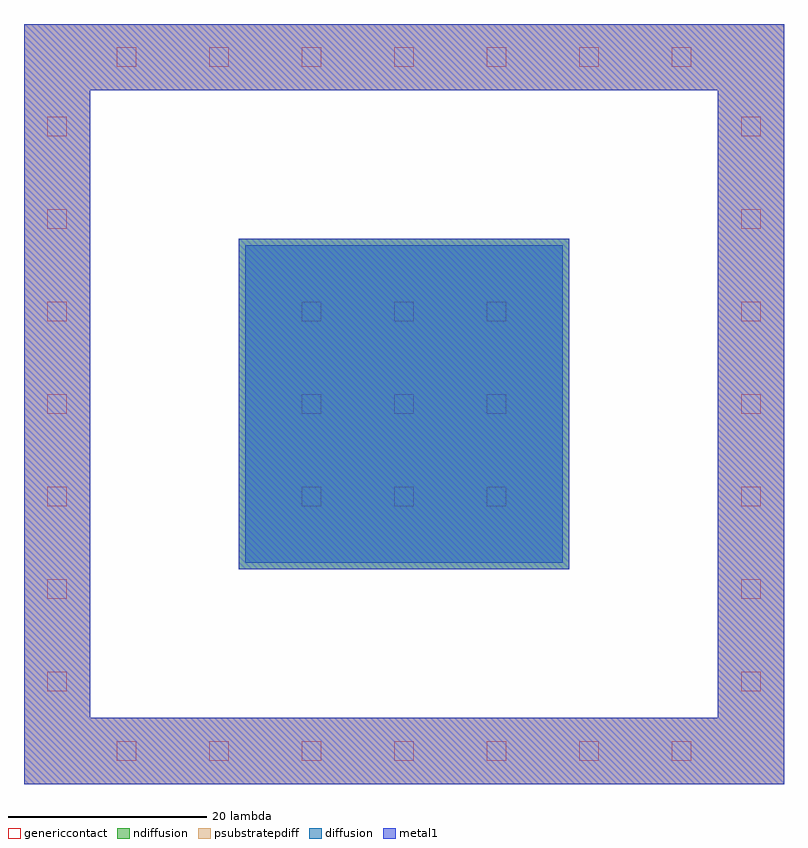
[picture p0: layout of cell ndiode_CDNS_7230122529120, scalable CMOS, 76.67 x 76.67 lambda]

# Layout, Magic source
magic
tech scmos
magscale 1 3
<< ndiffusion >>
rect 75 75 175 175
<< metal1 >>
rect 75 75 175 175
use ntap_CDNS_7230122529123  ntap_CDNS_7230122529123_0
transform 1 0 72 0 1 72
box 4 4 102 102
use ptap_ring_ndiode_CDNS_7230122529121  ptap_ring_ndiode_CDNS_7230122529121_0
transform 1 0 0 0 1 0
box 10 10 240 240
<< end >>

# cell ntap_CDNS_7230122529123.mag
magic
tech scmos
magscale 1 3
<< diffusion >>
rect 5 5 101 101
<< genericcontact >>
rect 22 78 28 84
rect 50 78 56 84
rect 78 78 84 84
rect 22 50 28 56
rect 50 50 56 56
rect 78 50 84 56
rect 22 22 28 28
rect 50 22 56 28
rect 78 22 84 28
<< metal1 >>
rect 4 4 102 102
<< end >>

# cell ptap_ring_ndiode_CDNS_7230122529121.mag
magic
tech scmos
magscale 1 3
<< psubstratepdiff >>
rect 10 220 240 240
rect 10 30 30 220
rect 220 30 240 220
rect 10 10 240 30
<< metal1 >>
rect 10 220 240 240
rect 10 30 30 220
rect 220 30 240 220
rect 10 10 240 30
use ptap_CDNS_7230122529122  ptap_CDNS_7230122529122_0
transform 1 0 216 0 1 26
box 4 4 24 194
use ptap_CDNS_7230122529122  ptap_CDNS_7230122529122_1
transform 0 1 26 1 0 216
box 4 4 24 194
use ptap_CDNS_7230122529122  ptap_CDNS_7230122529122_2
transform 0 1 26 1 0 6
box 4 4 24 194
use ptap_CDNS_7230122529122  ptap_CDNS_7230122529122_3
transform 1 0 6 0 1 26
box 4 4 24 194
<< end >>

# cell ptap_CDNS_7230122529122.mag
magic
tech scmos
magscale 1 3
<< genericcontact >>
rect 11 180 17 186
rect 11 152 17 158
rect 11 124 17 130
rect 11 96 17 102
rect 11 68 17 74
rect 11 40 17 46
rect 11 12 17 18
<< metal1 >>
rect 4 4 24 194
<< end >>
